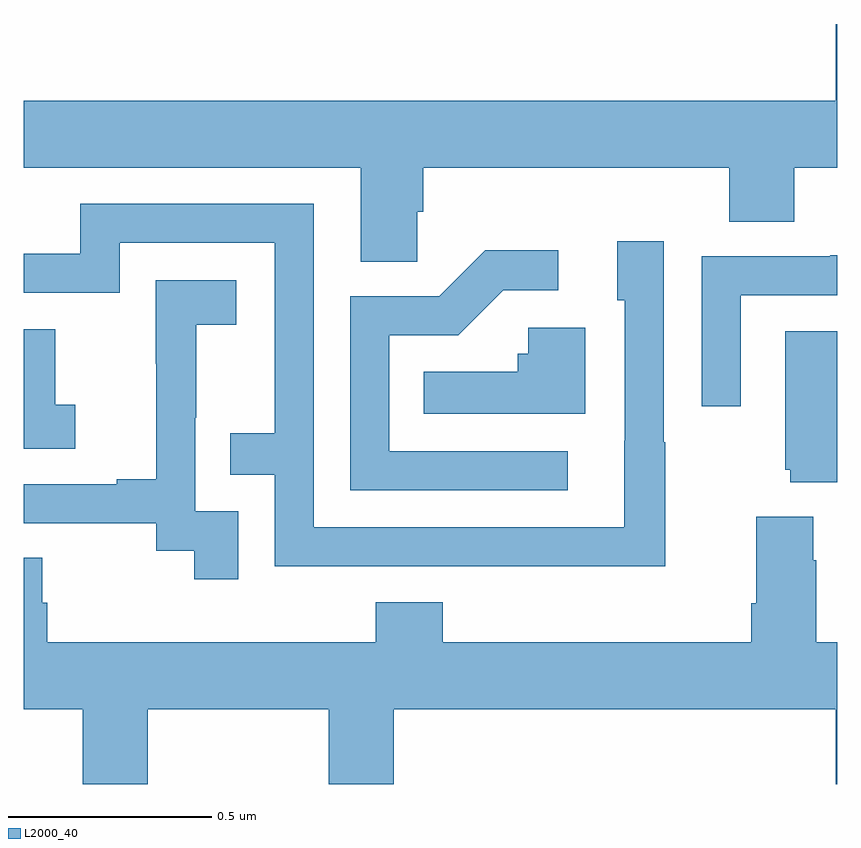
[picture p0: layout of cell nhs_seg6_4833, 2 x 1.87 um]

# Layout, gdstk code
import gdstk
lib = gdstk.Library(unit=1e-6, precision=1e-09)
def P(c, l, *ps):  # polygons
    for p in ps: c.add(gdstk.Polygon(p, *l))
L2000_40 = (2000, 40)

nhs_seg6_4833 = lib.new_cell('nhs_seg6_4833')
P(nhs_seg6_4833, L2000_40, [(175.968,933.907),(175.982,933.907),(175.982,934.016),(176.735,934.016),(176.735,933.883),(176.895,933.883),(176.895,934.016),(177,934.016),(177,934.369),(176.996,934.369),(176.996,934.18),(175,934.18),(175,934.016),(175.829,934.016),(175.829,933.784),(175.968,933.784)],
  [(176.577,933.341),(176.574,933.341),(176.574,933.835),(176.459,933.835),(176.459,933.69),(176.478,933.69),(176.478,933.344),(176.477,933.344),(176.477,933.132),(175.713,933.132),(175.713,933.927),(175.139,933.927),(175.139,933.804),(175,933.804),(175,933.708),(175.236,933.708),(175.236,933.831),(175.617,933.831),(175.617,933.362),(175.507,933.362),(175.507,933.261),(175.617,933.261),(175.617,933.036),(176.113,933.036),(176.113,933.035),(176.577,933.035)],
  [(176.338,933.318),(175.899,933.318),(175.899,933.603),(176.068,933.603),(176.179,933.714),(176.314,933.714),(176.314,933.812),(176.135,933.812),(176.022,933.699),(175.803,933.699),(175.803,933.222),(176.338,933.222)],
  [(176.763,933.702),(177,933.702),(177,933.8),(176.983,933.8),(176.983,933.798),(176.667,933.798),(176.667,933.429),(176.763,933.429)],
  [(175.527,933.171),(175.422,933.171),(175.422,933.401),(175.424,933.401),(175.424,933.629),(175.522,933.629),(175.522,933.739),(175.324,933.739),(175.324,933.533),(175.325,933.533),(175.325,933.25),(175.229,933.25),(175.229,933.237),(175,933.237),(175,933.141),(175.326,933.141),(175.326,933.073),(175.419,933.073),(175.419,933.003),(175.527,933.003)],
  [(176.38,933.622),(176.241,933.622),(176.241,933.558),(176.215,933.558),(176.215,933.514),(175.984,933.514),(175.984,933.41),(176.38,933.41)],
  [(175.126,933.433),(175.077,933.433),(175.077,933.618),(175,933.618),(175,933.324),(175.126,933.324)],
  [(177,933.613),(176.873,933.613),(176.873,933.273),(176.885,933.273),(176.885,933.242),(177,933.242)],
  [(175.305,932.684),(175.75,932.684),(175.75,932.5),(175.91,932.5),(175.91,932.684),(176.996,932.684),(176.996,932.5),(177,932.5),(177,932.848),(176.949,932.848),(176.949,933.05),(176.941,933.05),(176.941,933.157),(176.801,933.157),(176.801,932.944),(176.789,932.944),(176.789,932.848),(176.03,932.848),(176.03,932.947),(175.865,932.947),(175.865,932.848),(175.058,932.848),(175.058,932.946),(175.045,932.946),(175.045,933.056),(175,933.056),(175,932.684),(175.145,932.684),(175.145,932.5),(175.305,932.5)])

lib.write_gds('nhs_seg6_4833.gds')
